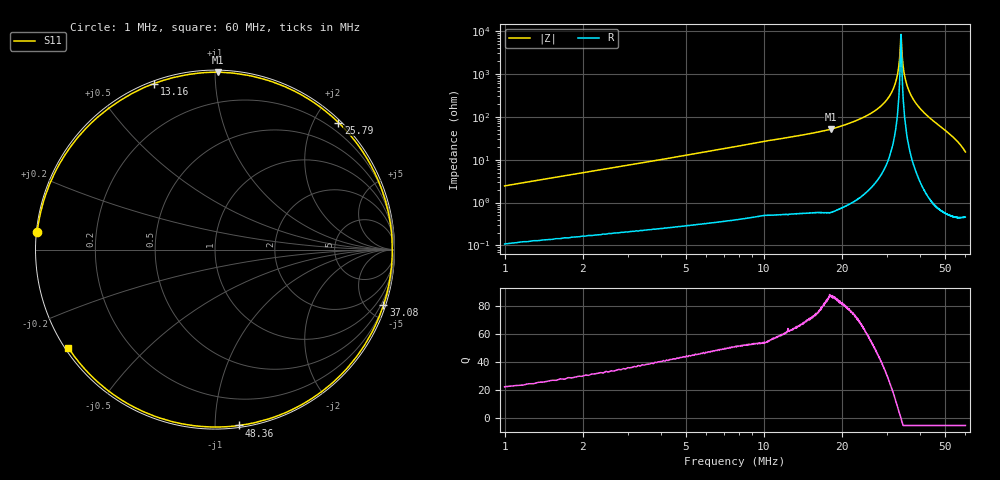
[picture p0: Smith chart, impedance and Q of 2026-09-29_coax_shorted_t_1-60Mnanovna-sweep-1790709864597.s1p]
! NanoVNA Web complex sweep
! Processing: unaveraged complex samples; linear segment spacing; no smoothing
# Hz S RI R 50
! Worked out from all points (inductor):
!   1010 points, 1 MHz to 60 MHz, reference 50 ohm
!   read as one part to ground: L = 392 nH near 1.292 MHz
!   highest Q = 86.3 at 18.13 MHz (marker M1), where L = 447 nH
!   self-resonance near 33.8 MHz
!   S11 on the Smith chart (normalised r, x): 1 MHz: 0.00, +0.05; 13.16 MHz: 0.01, +0.70; 25.79 MHz: 0.04, +2.36; 37.08 MHz: 0.23, -6.21; 48.36 MHz: 0.01, -1.15; 60 MHz: 0.01, -0.30
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1000000  -0.9909 0.097
2754220  -0.9559 0.2665
4625388  -0.8886 0.436
6438082  -0.7958 0.5851
8426198  -0.666 0.7271
1.018042e7  -0.5349 0.8266
1.316259e7  -0.3397 0.9251
1.579392e7  -0.154 0.9747
1.813288e7  0.0186 0.9884
2.064726e7  0.2586 0.9535
2.316165e7  0.4835 0.8611
2.579298e7  0.6878 0.708
2.824888e7  0.8383 0.5212
3.052937e7  0.9344 0.32
3.216664e7  0.9739 0.1648
3.380391e7  0.9878 0.00536
3.544119e7  0.9759 -0.1543
3.707846e7  0.9385 -0.3097
3.789709e7  0.9104 -0.3845
4.134706e7  0.7289 -0.6688
4.339365e7  0.5794 -0.8023
4.526482e7  0.4223 -0.8948
4.836394e7  0.1357 -0.9795
5.0469e7  -0.0666 -0.9861
5.263254e7  -0.2701 -0.9499
5.608251e7  -0.5637 -0.8091
5.824605e7  -0.7168 -0.6752
6.000027e7  -0.8177 -0.5462
